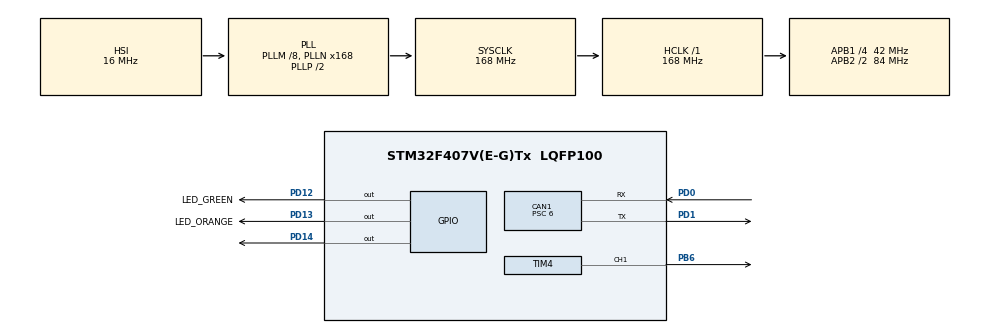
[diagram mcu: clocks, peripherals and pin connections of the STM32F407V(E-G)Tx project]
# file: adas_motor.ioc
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CAN1.ABOM=ENABLE
CAN1.AWUM=ENABLE
CAN1.BS1=CAN_BS1_10TQ
CAN1.BS2=CAN_BS2_3TQ
CAN1.CalculateBaudRate=500000
CAN1.CalculateTimeBit=2000
CAN1.CalculateTimeQuantum=142.85714285714286
CAN1.NART=DISABLE
CAN1.Prescaler=6
CAN1.RFLM=DISABLE
CAN1.TXFP=ENABLE
Mcu.Family=STM32F4
Mcu.Name=STM32F407V(E-G)Tx
Mcu.Package=LQFP100
NVIC.CAN1_RX0_IRQn=true\:0\:0\:false\:false\:true\:true\:true\:true
NVIC.CAN1_SCE_IRQn=true\:0\:0\:false\:false\:true\:true\:true\:true
NVIC.CAN1_TX_IRQn=true\:0\:0\:false\:false\:true\:true\:true\:true
NVIC.PriorityGroup=NVIC_PRIORITYGROUP_4
NVIC.TIM4_IRQn=true\:0\:0\:false\:false\:true\:true\:true\:true
PB6.Signal=S_TIM4_CH1
PD0.GPIO_PuPd=GPIO_PULLUP
PD0.Mode=CAN_Activate
PD0.Signal=CAN1_RX
PD1.GPIO_PuPd=GPIO_PULLUP
PD1.Mode=CAN_Activate
PD1.Signal=CAN1_TX
PD12.GPIO_Label=LED_GREEN
PD12.Signal=GPIO_Output
PD13.GPIO_Label=LED_ORANGE
PD13.Signal=GPIO_Output
PD14.Signal=GPIO_Output
ProjectManager.HeapSize=0x200
ProjectManager.StackSize=0x400
ProjectManager.TargetToolchain=CMake
RCC.48MHZClocksFreq_Value=84000000
RCC.AHBFreq_Value=168000000
RCC.APB1CLKDivider=RCC_HCLK_DIV4
RCC.APB1Freq_Value=42000000
RCC.APB1TimFreq_Value=84000000
RCC.APB2CLKDivider=RCC_HCLK_DIV2
RCC.APB2Freq_Value=84000000
RCC.APB2TimFreq_Value=168000000
RCC.CortexFreq_Value=168000000
RCC.HCLKFreq_Value=168000000
RCC.HSE_VALUE=25000000
RCC.HSI_VALUE=16000000
RCC.LSE_VALUE=32768
RCC.PLLM=8
RCC.PLLN=168
RCC.SYSCLKFreq_VALUE=168000000
RCC.SYSCLKSource=RCC_SYSCLKSOURCE_PLLCLK
RCC.VCOOutputFreq_Value=336000000
SH.S_TIM4_CH1.0=TIM4_CH1,PWM Generation1 CH1
TIM4.AutoReloadPreload=TIM_AUTORELOAD_PRELOAD_ENABLE
TIM4.Channel-PWM\ Generation1\ CH1=TIM_CHANNEL_1
TIM4.Period=999
TIM4.Prescaler=1799
TIM4.Pulse-PWM\ Generation1\ CH1=75
board=custom

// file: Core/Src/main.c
/* USER CODE BEGIN Header */
/**
  ******************************************************************************
  * @file           : main.c
  * @brief          : ADAS Motor Control with CAN and ESC
  ******************************************************************************
  * @attention
  *
  * ADAS Project - STM32F407VG Discovery
  * Motor: A2212 Brushless with XXD 40A ESC
  * CAN: 500kbps receiving speed commands
  * PWM: 50Hz ESC signal (1ms-2ms pulse width)
  *
  ******************************************************************************
  */
/* USER CODE END Header */
#include "main.h"

CAN_HandleTypeDef hcan1;

TIM_HandleTypeDef htim4;

/* USER CODE BEGIN PV */
volatile uint32_t can_msg_received = 0;  // Flag set by interrupt when CAN message arrives
/* USER CODE END PV */

void SystemClock_Config(void);
static void MX_GPIO_Init(void);
static void MX_CAN1_Init(void);
static void MX_TIM4_Init(void);
/* USER CODE BEGIN PFP */
void CAN_ConfigureFilter(void);
/* USER CODE END PFP */

/* USER CODE BEGIN 0 */

// CAN filter - accept ALL standard messages - SIMPLEST POSSIBLE
void CAN_ConfigureFilter(void)
{
    CAN_FilterTypeDef canFilter;

    // Accept ALL messages: ID and MASK both 0 = match everything
    canFilter.FilterBank = 0;
    canFilter.FilterMode = CAN_FILTERMODE_IDMASK;
    canFilter.FilterScale = CAN_FILTERSCALE_32BIT;
    canFilter.FilterIdHigh = 0x0000;
    canFilter.FilterIdLow = 0x0000;
    canFilter.FilterMaskIdHigh = 0x0000;
    canFilter.FilterMaskIdLow = 0x0000;
    canFilter.FilterFIFOAssignment = CAN_RX_FIFO0;
    canFilter.FilterActivation = CAN_FILTER_ENABLE;
    canFilter.SlaveStartFilterBank = 14;

    HAL_CAN_ConfigFilter(&hcan1, &canFilter);
}

/* USER CODE END 0 */

int main(void)
{

  /* MCU Configuration--------------------------------------------------------*/

  /* Reset of all peripherals, Initializes the Flash interface and the Systick. */
  HAL_Init();

  /* Configure the system clock */
  SystemClock_Config();

  /* Initialize all configured peripherals */
  MX_GPIO_Init();
  MX_CAN1_Init();
  MX_TIM4_Init();
  /* USER CODE BEGIN 2 */

  // Turn on orange LED to indicate initialization
  HAL_GPIO_WritePin(GPIOD, GPIO_PIN_13, GPIO_PIN_SET);

  // ═══════════════════════════════════════════════════════════════
  // CRITICAL: Configure CAN filter BEFORE starting CAN
  // ═══════════════════════════════════════════════════════════════
  CAN_FilterTypeDef canFilter;
  canFilter.FilterBank = 0;
  canFilter.FilterMode = CAN_FILTERMODE_IDMASK;
  canFilter.FilterScale = CAN_FILTERSCALE_32BIT;
  canFilter.FilterIdHigh = 0x0000;
  canFilter.FilterIdLow = 0x0000;
  canFilter.FilterMaskIdHigh = 0x0000;
  canFilter.FilterMaskIdLow = 0x0000;
  canFilter.FilterFIFOAssignment = CAN_RX_FIFO0;
  canFilter.FilterActivation = CAN_FILTER_ENABLE;
  canFilter.SlaveStartFilterBank = 14;

  if (HAL_CAN_ConfigFilter(&hcan1, &canFilter) != HAL_OK) {
    // Filter config failed - rapid blink orange
    while(1) {
        HAL_GPIO_TogglePin(GPIOD, GPIO_PIN_13);
        HAL_Delay(100);
    }
  }

  // Blink green LED once to show filter configured
  HAL_GPIO_WritePin(GPIOD, GPIO_PIN_12, GPIO_PIN_SET);
  HAL_Delay(200);
  HAL_GPIO_WritePin(GPIOD, GPIO_PIN_12, GPIO_PIN_RESET);
  HAL_Delay(200);

  // ═══════════════════════════════════════════════════════════════
  // NOW start CAN (after filter is configured)
  // ═══════════════════════════════════════════════════════════════
  if (HAL_CAN_Start(&hcan1) != HAL_OK) {
    // CAN start failed - solid orange
    HAL_GPIO_WritePin(GPIOD, GPIO_PIN_13, GPIO_PIN_SET);
    while(1);
  }

  // Blink green LED twice to show CAN started
  for(int i=0; i<2; i++) {
    HAL_GPIO_WritePin(GPIOD, GPIO_PIN_12, GPIO_PIN_SET);
    HAL_Delay(200);
    HAL_GPIO_WritePin(GPIOD, GPIO_PIN_12, GPIO_PIN_RESET);
    HAL_Delay(200);
  }

  // Enable CAN RX interrupt ONLY - simple
  HAL_CAN_ActivateNotification(&hcan1, CAN_IT_RX_FIFO0_MSG_PENDING);

  // Blink green LED 3 times to show interrupts enabled
  for(int i=0; i<3; i++) {
    HAL_GPIO_WritePin(GPIOD, GPIO_PIN_12, GPIO_PIN_SET);
    HAL_Delay(200);
    HAL_GPIO_WritePin(GPIOD, GPIO_PIN_12, GPIO_PIN_RESET);
    HAL_Delay(200);
  }

  // Start PWM on TIM4 Channel 1 (motor control)
  HAL_TIM_PWM_Start(&htim4, TIM_CHANNEL_1);

  // ========== ESC CALIBRATION ==========
  // Step 1: Send max throttle (2ms = CCR1 = 100)
  TIM4->CCR1 = 100;
  HAL_GPIO_WritePin(GPIOD, GPIO_PIN_14, GPIO_PIN_SET);  // RED LED ON
  HAL_Delay(2000);  // Wait 2 seconds

  // Step 2: Send min throttle (1ms = CCR1 = 50)
  TIM4->CCR1 = 50;
  HAL_GPIO_WritePin(GPIOD, GPIO_PIN_14, GPIO_PIN_RESET);  // RED LED OFF
  HAL_Delay(1000);  // Wait 1 second

  // Step 3: Set to neutral (1.5ms = CCR1 = 75)
  TIM4->CCR1 = 50;  // Stop motor (min throttle)
  // ========== END ESC CALIBRATION ==========

  // Turn off orange LED - ready!
  HAL_GPIO_WritePin(GPIOD, GPIO_PIN_13, GPIO_PIN_RESET);

  /* USER CODE END 2 */

  /* Infinite loop */
  /* USER CODE BEGIN WHILE */
  // STM32 is now in RX-only mode
  // Waiting for CAN messages from Raspberry Pi
  // GREEN LED (PD12) will turn ON when messages are being received
  // ORANGE LED (PD13) is the status indicator

  while (1)
  {
    /* USER CODE END WHILE */

    /* USER CODE BEGIN 3 */

    // Turn OFF GREEN LED if no messages received for 300ms
    if (can_msg_received > 0 && (HAL_GetTick() - can_msg_received) > 300)
    {
      HAL_GPIO_WritePin(GPIOD, GPIO_PIN_12, GPIO_PIN_RESET);
    }

    // ORANGE LED blinks as heartbeat to show system is running
    HAL_Delay(100);
    HAL_GPIO_TogglePin(GPIOD, GPIO_PIN_13);
  }
  /* USER CODE END 3 */
}

void SystemClock_Config(void)
{
  RCC_OscInitTypeDef RCC_OscInitStruct = {0};
  RCC_ClkInitTypeDef RCC_ClkInitStruct = {0};

  /** Configure the main internal regulator output voltage
  */
  __HAL_RCC_PWR_CLK_ENABLE();
  __HAL_PWR_VOLTAGESCALING_CONFIG(PWR_REGULATOR_VOLTAGE_SCALE1);

  /** Initializes the RCC Oscillators according to the specified parameters
  * in the RCC_OscInitTypeDef structure.
  */
  RCC_OscInitStruct.OscillatorType = RCC_OSCILLATORTYPE_HSI;
  RCC_OscInitStruct.HSIState = RCC_HSI_ON;
  RCC_OscInitStruct.HSICalibrationValue = RCC_HSICALIBRATION_DEFAULT;
  RCC_OscInitStruct.PLL.PLLState = RCC_PLL_ON;
  RCC_OscInitStruct.PLL.PLLSource = RCC_PLLSOURCE_HSI;
  RCC_OscInitStruct.PLL.PLLM = 8;
  RCC_OscInitStruct.PLL.PLLN = 168;
  RCC_OscInitStruct.PLL.PLLP = RCC_PLLP_DIV2;
  RCC_OscInitStruct.PLL.PLLQ = 4;
  if (HAL_RCC_OscConfig(&RCC_OscInitStruct) != HAL_OK)
  {
    Error_Handler();
  }

  /** Initializes the CPU, AHB and APB buses clocks
  */
  RCC_ClkInitStruct.ClockType = RCC_CLOCKTYPE_HCLK|RCC_CLOCKTYPE_SYSCLK
                              |RCC_CLOCKTYPE_PCLK1|RCC_CLOCKTYPE_PCLK2;
  RCC_ClkInitStruct.SYSCLKSource = RCC_SYSCLKSOURCE_PLLCLK;
  RCC_ClkInitStruct.AHBCLKDivider = RCC_SYSCLK_DIV1;
  RCC_ClkInitStruct.APB1CLKDivider = RCC_HCLK_DIV4;
  RCC_ClkInitStruct.APB2CLKDivider = RCC_HCLK_DIV2;

  if (HAL_RCC_ClockConfig(&RCC_ClkInitStruct, FLASH_LATENCY_5) != HAL_OK)
  {
    Error_Handler();
  }
}

static void MX_CAN1_Init(void)
{

  hcan1.Instance = CAN1;
  hcan1.Init.Prescaler = 6;
  hcan1.Init.Mode = CAN_MODE_NORMAL;
  hcan1.Init.SyncJumpWidth = CAN_SJW_1TQ;
  hcan1.Init.TimeSeg1 = CAN_BS1_10TQ;
  hcan1.Init.TimeSeg2 = CAN_BS2_3TQ;
  hcan1.Init.TimeTriggeredMode = DISABLE;
  hcan1.Init.AutoBusOff = ENABLE;
  hcan1.Init.AutoWakeUp = ENABLE;
  hcan1.Init.AutoRetransmission = DISABLE;
  hcan1.Init.ReceiveFifoLocked = DISABLE;
  hcan1.Init.TransmitFifoPriority = ENABLE;
  if (HAL_CAN_Init(&hcan1) != HAL_OK)
  {
    Error_Handler();
  }

}

static void MX_TIM4_Init(void)
{

  TIM_MasterConfigTypeDef sMasterConfig = {0};
  TIM_OC_InitTypeDef sConfigOC = {0};

  htim4.Instance = TIM4;
  htim4.Init.Prescaler = 1799;
  htim4.Init.CounterMode = TIM_COUNTERMODE_UP;
  htim4.Init.Period = 999;
  htim4.Init.ClockDivision = TIM_CLOCKDIVISION_DIV1;
  htim4.Init.AutoReloadPreload = TIM_AUTORELOAD_PRELOAD_ENABLE;
  if (HAL_TIM_PWM_Init(&htim4) != HAL_OK)
  {
    Error_Handler();
  }
  sMasterConfig.MasterOutputTrigger = TIM_TRGO_RESET;
  sMasterConfig.MasterSlaveMode = TIM_MASTERSLAVEMODE_DISABLE;
  if (HAL_TIMEx_MasterConfigSynchronization(&htim4, &sMasterConfig) != HAL_OK)
  {
    Error_Handler();
  }
  sConfigOC.OCMode = TIM_OCMODE_PWM1;
  sConfigOC.Pulse = 1500;
  sConfigOC.OCPolarity = TIM_OCPOLARITY_HIGH;
  sConfigOC.OCFastMode = TIM_OCFAST_DISABLE;
  if (HAL_TIM_PWM_ConfigChannel(&htim4, &sConfigOC, TIM_CHANNEL_1) != HAL_OK)
  {
    Error_Handler();
  }
  HAL_TIM_MspPostInit(&htim4);

}

static void MX_GPIO_Init(void)
{
  GPIO_InitTypeDef GPIO_InitStruct = {0};

  /* GPIO Ports Clock Enable */
  __HAL_RCC_GPIOD_CLK_ENABLE();
  __HAL_RCC_GPIOB_CLK_ENABLE();

  /*Configure GPIO pin Output Level */
  HAL_GPIO_WritePin(GPIOD, LED_GREEN_Pin|LED_ORANGE_Pin|GPIO_PIN_14, GPIO_PIN_RESET);

  /*Configure GPIO pins : LED_GREEN_Pin LED_ORANGE_Pin PD14 */
  GPIO_InitStruct.Pin = LED_GREEN_Pin|LED_ORANGE_Pin|GPIO_PIN_14;
  GPIO_InitStruct.Mode = GPIO_MODE_OUTPUT_PP;
  GPIO_InitStruct.Pull = GPIO_NOPULL;
  GPIO_InitStruct.Speed = GPIO_SPEED_FREQ_LOW;
  HAL_GPIO_Init(GPIOD, &GPIO_InitStruct);

}

void Error_Handler(void)
{
  __disable_irq();
  while (1)
  {
  }
}
